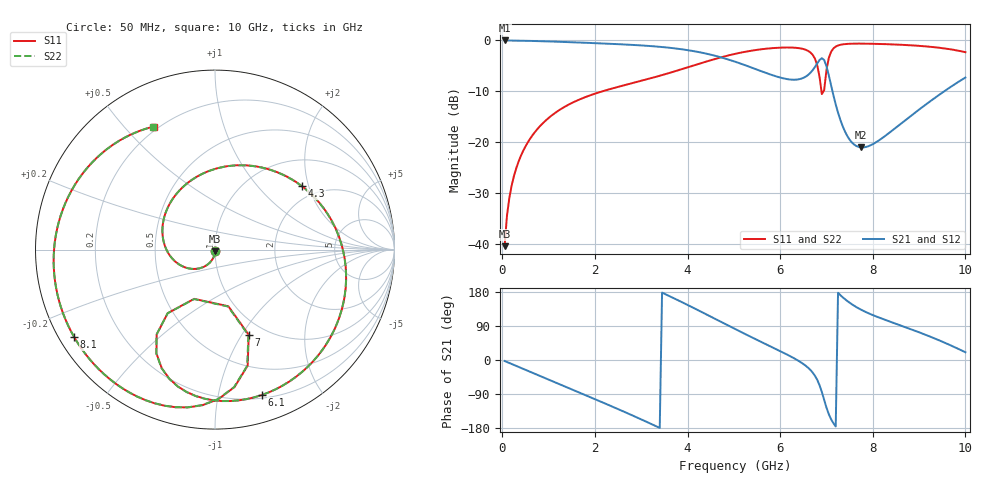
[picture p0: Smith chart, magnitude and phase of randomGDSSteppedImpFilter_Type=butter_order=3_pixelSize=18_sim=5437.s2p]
! freq	dB(S11)	phase(S11)	dB(S12)	phase(S12)
!  dB(S21)	phase(S21)	dB(S22)	phase(S22)
!S-par simulation data
#  GHz  S  DB  R 50
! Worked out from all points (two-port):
!   200 points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, 50 MHz to 10 GHz, reference 50 ohm
!   highest |S21| = -0.02 dB at 50 MHz (marker M1); lowest = -21.0 dB at 7.75 GHz (marker M2)
!   |S21| within 3 dB of the highest: start of sweep to 4.596 GHz
!   lowest |S11| = -40.3 dB at 50 MHz (marker M3), VSWR 1.02, Z = 50.1 - j0.961 ohm
!   |S11| at or under -10 dB: start of sweep to 2.155 GHz; 6.892 GHz to 6.935 GHz (42.88 MHz wide, 0.62 % of centre)
!   |S22| runs from -40.3 to -0.6 dB; largest |S21 - S12| = 0
!   S11 on the Smith chart (normalised r, x): 50 MHz: 1.00, -0.02; 4.3 GHz: 1.64, +1.81; 6.1 GHz: 0.23, -1.35; 7 GHz: 0.84, -1.07; 8.1 GHz: 0.04, -0.28; 10 GHz: 0.18, +0.60
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0.05  -40.33 -85.7  -0.02 -2.6  -0.02 -2.6  -40.33 -85.7
0.2  -28.55 -98.6  -0.03 -10.4  -0.03 -10.4  -28.55 -98.6
0.5  -20.79 -115.9  -0.08 -25.9  -0.08 -25.9  -20.79 -115.9
1.15  -14.15 -150.0  -0.25 -59.4  -0.25 -59.4  -14.15 -150.1
1.75  -11.27 178.9  -0.45 -90.3  -0.45 -90.3  -11.27 178.8
2.7  -8.64 128.8  -0.83 -140.3  -0.83 -140.3  -8.64 128.7
3.4  -6.94 89.8  -1.26 -179.3  -1.26 -179.3  -6.94 89.6
4.3  -4.44 36.2  -2.40 127.0  -2.40 127.0  -4.44 35.9
5.05  -2.59 -10.1  -4.25 80.4  -4.25 80.4  -2.59 -10.4
5.55  -1.79 -40.2  -5.90 50.1  -5.90 50.1  -1.79 -40.4
6.1  -1.40 -72.1  -7.50 17.4  -7.50 17.4  -1.40 -72.3
6.7  -2.80 -114.2  -5.86 -32.8  -5.86 -32.8  -2.80 -114.3
6.8  -4.82 -124.5  -4.52 -52.2  -4.52 -52.2  -4.82 -124.5
6.9  -10.52 -112.9  -3.49 -84.4  -3.49 -84.4  -10.48 -112.9
7  -5.84 -68.4  -5.05 -125.7  -5.05 -125.7  -5.82 -68.7
7.2  -1.22 -94.6  -12.56 -175.4  -12.56 -175.4  -1.21 -94.8
7.45  -0.69 -114.7  -18.74 155.6  -18.74 155.6  -0.69 -114.8
7.75  -0.63 -131.4  -20.98 132.5  -20.98 132.5  -0.63 -131.5
8.1  -0.69 -148.2  -19.80 113.7  -19.80 113.7  -0.69 -148.3
8.35  -0.76 -159.7  -18.16 102.3  -18.16 102.3  -0.76 -159.7
9.15  -1.18 162.8  -12.54 66.0  -12.54 66.0  -1.18 162.8
10  -2.31 116.6  -7.28 20.4  -7.28 20.4  -2.31 116.7
